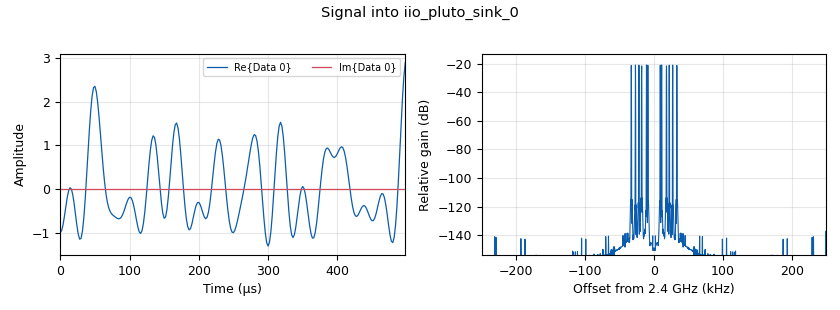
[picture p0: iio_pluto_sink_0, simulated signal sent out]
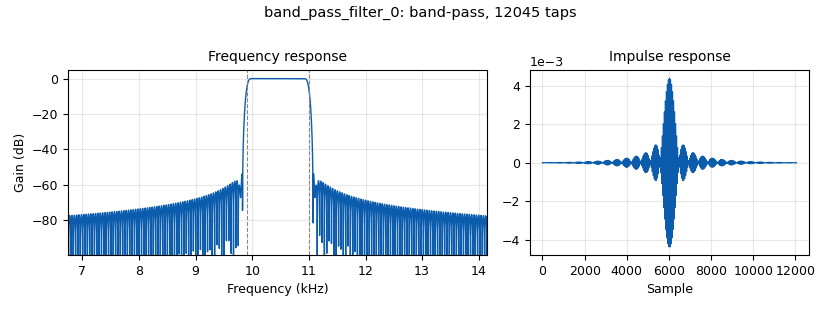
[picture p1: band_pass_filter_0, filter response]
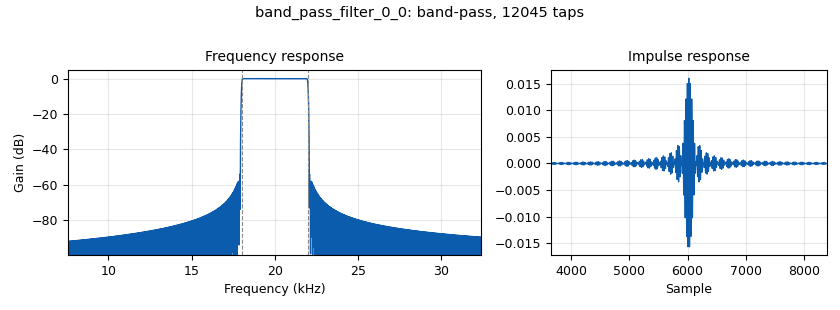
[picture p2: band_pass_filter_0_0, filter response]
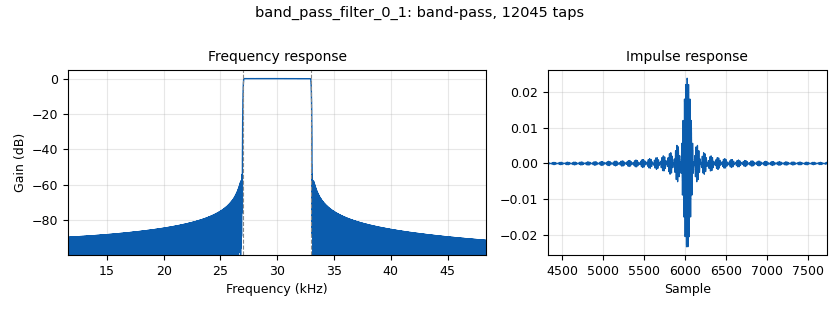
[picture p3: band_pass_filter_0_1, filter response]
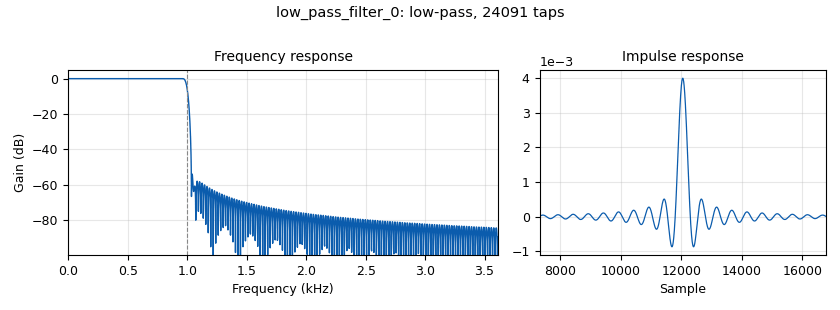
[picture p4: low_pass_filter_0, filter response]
options:
  parameters:
    author: Mangal
    generate_options: qt_gui
    id: default
    output_language: python
    title: Not titled yet
  states: {}

blocks:
- name: samp_rate
  id: variable
  parameters:
    value: '500000'
  states: {}
- name: analog_sig_source_x_0
  id: analog_sig_source_x
  parameters:
    amp: '1'
    freq: '1000'
    offset: '0'
    phase: '0'
    samp_rate: samp_rate
    type: float
    waveform: analog.GR_COS_WAVE
  states: {}
- name: analog_sig_source_x_1
  id: analog_sig_source_x
  parameters:
    amp: '1'
    freq: '2000'
    offset: '0'
    phase: '0'
    samp_rate: samp_rate
    type: float
    waveform: analog.GR_COS_WAVE
  states: {}
- name: analog_sig_source_x_2
  id: analog_sig_source_x
  parameters:
    amp: '1'
    freq: '3000'
    offset: '0'
    phase: '0'
    samp_rate: samp_rate
    type: float
    waveform: analog.GR_COS_WAVE
  states: {}
- name: analog_sig_source_x_3
  id: analog_sig_source_x
  parameters:
    amp: '1'
    freq: '10000'
    offset: '0'
    phase: '0'
    samp_rate: samp_rate
    type: float
    waveform: analog.GR_COS_WAVE
  states: {}
- name: analog_sig_source_x_3_0
  id: analog_sig_source_x
  parameters:
    amp: '1'
    freq: '10000'
    offset: '0'
    phase: '0'
    samp_rate: samp_rate
    type: float
    waveform: analog.GR_COS_WAVE
  states: {}
- name: analog_sig_source_x_4
  id: analog_sig_source_x
  parameters:
    amp: '1'
    freq: '20000'
    offset: '0'
    phase: '0'
    samp_rate: samp_rate
    type: float
    waveform: analog.GR_COS_WAVE
  states: {}
- name: analog_sig_source_x_4_0
  id: analog_sig_source_x
  parameters:
    amp: '1'
    freq: '20000'
    offset: '0'
    phase: '0'
    samp_rate: samp_rate
    type: float
    waveform: analog.GR_COS_WAVE
  states: {}
- name: analog_sig_source_x_5
  id: analog_sig_source_x
  parameters:
    amp: '1'
    freq: '30000'
    offset: '0'
    phase: '0'
    samp_rate: samp_rate
    type: float
    waveform: analog.GR_COS_WAVE
  states: {}
- name: analog_sig_source_x_5_0
  id: analog_sig_source_x
  parameters:
    amp: '1'
    freq: '30000'
    offset: '0'
    phase: '0'
    samp_rate: samp_rate
    type: float
    waveform: analog.GR_COS_WAVE
  states: {}
- name: band_pass_filter_0
  id: band_pass_filter
  parameters:
    decim: '1'
    gain: '1'
    high_cutoff_freq: '11000'
    low_cutoff_freq: '9900'
    samp_rate: samp_rate
    type: fir_filter_fff
    width: '100'
    win: window.WIN_HAMMING
  states: {}
- name: band_pass_filter_0_0
  id: band_pass_filter
  parameters:
    decim: '1'
    gain: '1'
    high_cutoff_freq: '22000'
    low_cutoff_freq: '18000'
    samp_rate: samp_rate
    type: fir_filter_fff
    width: '100'
    win: window.WIN_HAMMING
  states: {}
- name: band_pass_filter_0_1
  id: band_pass_filter
  parameters:
    decim: '1'
    gain: '1'
    high_cutoff_freq: '33000'
    low_cutoff_freq: '27000'
    samp_rate: samp_rate
    type: fir_filter_fff
    width: '100'
    win: window.WIN_HAMMING
  states: {}
- name: blocks_add_xx_0
  id: blocks_add_xx
  parameters:
    num_inputs: '3'
    type: float
  states: {}
- name: blocks_complex_to_float_0
  id: blocks_complex_to_float
  parameters: {}
  states: {}
- name: blocks_float_to_complex_0
  id: blocks_float_to_complex
  parameters: {}
  states: {}
- name: blocks_multiply_xx_0
  id: blocks_multiply_xx
  parameters:
    type: float
  states: {}
- name: blocks_multiply_xx_0_0
  id: blocks_multiply_xx
  parameters:
    type: float
  states: {}
- name: blocks_multiply_xx_0_1
  id: blocks_multiply_xx
  parameters:
    type: float
  states: {}
- name: blocks_multiply_xx_1
  id: blocks_multiply_xx
  parameters:
    type: float
  states: {}
- name: blocks_multiply_xx_1_0
  id: blocks_multiply_xx
  parameters:
    type: float
  states: {}
- name: blocks_multiply_xx_1_1
  id: blocks_multiply_xx
  parameters:
    type: float
  states: {}
- name: iio_pluto_sink_0
  id: iio_pluto_sink
  parameters:
    attenuation1: '10.0'
    bandwidth: '20000000'
    buffer_size: '32768'
    cyclic: 'False'
    filter_source: '''Auto'''
    frequency: '2400000000'
    samplerate: samp_rate
    type: fc32
    uri: 192.168.2.1
  states: {}
- name: iio_pluto_source_0
  id: iio_pluto_source
  parameters:
    bandwidth: '20000000'
    bbdc: 'True'
    buffer_size: '32768'
    filter_source: '''Auto'''
    frequency: '2400000000'
    gain1: '''slow_attack'''
    quadrature: 'True'
    rfdc: 'True'
    samplerate: samp_rate
    type: fc32
    uri: 192.168.2.1
  states: {}
- name: low_pass_filter_0
  id: low_pass_filter
  parameters:
    cutoff_freq: '1000'
    decim: '1'
    gain: '1'
    samp_rate: samp_rate
    type: fir_filter_fff
    width: '50'
    win: window.WIN_HAMMING
  states: {}
- name: low_pass_filter_0_0
  id: low_pass_filter
  parameters:
    cutoff_freq: '2000'
    decim: '1'
    gain: '1'
    samp_rate: samp_rate
    type: fir_filter_fff
    width: '50'
    win: window.WIN_HAMMING
  states: {}
- name: low_pass_filter_0_1
  id: low_pass_filter
  parameters:
    cutoff_freq: '3000'
    decim: '1'
    gain: '1'
    samp_rate: samp_rate
    type: fir_filter_fff
    width: '50'
    win: window.WIN_HAMMING
  states: {}
- name: qtgui_freq_sink_x_0
  id: qtgui_freq_sink_x
  parameters:
    bw: samp_rate
    ctrlpanel: 'True'
    fc: '0'
    fftsize: '1024'
    name: '"Message signa 1"'
    type: float
  states: {}
- name: qtgui_freq_sink_x_0_0
  id: qtgui_freq_sink_x
  parameters:
    bw: samp_rate
    ctrlpanel: 'True'
    fc: '0'
    fftsize: '1024'
    name: '"Message signal 2"'
    type: float
  states: {}
- name: qtgui_freq_sink_x_0_1
  id: qtgui_freq_sink_x
  parameters:
    bw: samp_rate
    ctrlpanel: 'True'
    fc: '0'
    fftsize: '1024'
    name: '"Message signal 3"'
    type: float
  states: {}
- name: qtgui_freq_sink_x_1
  id: qtgui_freq_sink_x
  parameters:
    bw: samp_rate
    ctrlpanel: 'True'
    fc: '0'
    fftsize: '1024'
    name: '"Multiplexed signal"'
    type: complex
  states: {}
- name: qtgui_time_sink_x_0
  id: qtgui_time_sink_x
  parameters:
    size: '1024'
    srate: samp_rate
    type: complex
  states: {}

connections:
- [analog_sig_source_x_0, '0', blocks_multiply_xx_0, '0']
- [analog_sig_source_x_1, '0', blocks_multiply_xx_0_1, '0']
- [analog_sig_source_x_2, '0', blocks_multiply_xx_0_0, '0']
- [analog_sig_source_x_3, '0', blocks_multiply_xx_0, '1']
- [analog_sig_source_x_3_0, '0', blocks_multiply_xx_1, '1']
- [analog_sig_source_x_4, '0', blocks_multiply_xx_0_1, '1']
- [analog_sig_source_x_4_0, '0', blocks_multiply_xx_1_0, '1']
- [analog_sig_source_x_5, '0', blocks_multiply_xx_0_0, '1']
- [analog_sig_source_x_5_0, '0', blocks_multiply_xx_1_1, '1']
- [band_pass_filter_0, '0', blocks_multiply_xx_1, '0']
- [band_pass_filter_0_0, '0', blocks_multiply_xx_1_0, '0']
- [band_pass_filter_0_1, '0', blocks_multiply_xx_1_1, '0']
- [blocks_add_xx_0, '0', blocks_float_to_complex_0, '0']
- [blocks_complex_to_float_0, '0', band_pass_filter_0, '0']
- [blocks_complex_to_float_0, '0', band_pass_filter_0_0, '0']
- [blocks_complex_to_float_0, '0', band_pass_filter_0_1, '0']
- [blocks_float_to_complex_0, '0', iio_pluto_sink_0, '0']
- [blocks_multiply_xx_0, '0', blocks_add_xx_0, '0']
- [blocks_multiply_xx_0_0, '0', blocks_add_xx_0, '2']
- [blocks_multiply_xx_0_1, '0', blocks_add_xx_0, '1']
- [blocks_multiply_xx_1, '0', low_pass_filter_0, '0']
- [blocks_multiply_xx_1_0, '0', low_pass_filter_0_0, '0']
- [blocks_multiply_xx_1_1, '0', low_pass_filter_0_1, '0']
- [iio_pluto_source_0, '0', blocks_complex_to_float_0, '0']
- [iio_pluto_source_0, '0', qtgui_freq_sink_x_1, '0']
- [iio_pluto_source_0, '0', qtgui_time_sink_x_0, '0']
- [low_pass_filter_0, '0', qtgui_freq_sink_x_0, '0']
- [low_pass_filter_0_0, '0', qtgui_freq_sink_x_0_0, '0']
- [low_pass_filter_0_1, '0', qtgui_freq_sink_x_0_1, '0']

metadata:
  file_format: 1
  grc_version: 3.10.9.2
